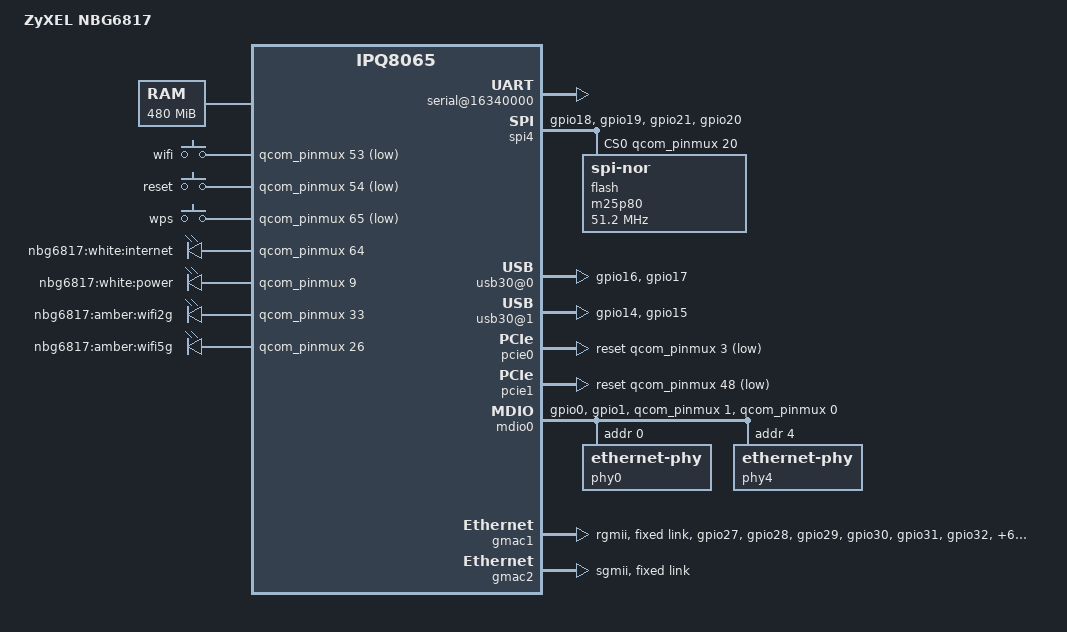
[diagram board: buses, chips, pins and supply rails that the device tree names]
#include "qcom-ipq8065-v1.0.dtsi"

#include <dt-bindings/input/input.h>

/ {
	model = "ZyXEL NBG6817";
	compatible = "zyxel,nbg6817", "qcom,ipq8065";

	memory@0 {
		reg = <0x42000000 0x1e000000>;
		device_type = "memory";
	};

	reserved-memory {
		#address-cells = <1>;
		#size-cells = <1>;
		ranges;
		rsvd@41200000 {
			reg = <0x41200000 0x300000>;
			no-map;
		};
	};

	aliases {
		serial0 = &gsbi4_serial;
		mdio-gpio0 = &mdio0;
		sdcc1 = &sdcc1;

		led-boot = &power;
		led-failsafe = &power;
		led-running = &power;
		led-upgrade = &power;
	};

	chosen {
		bootargs = "rootfstype=squashfs,ext4 rootwait noinitrd";
		linux,stdout-path = "serial0:115200n8";
		append-rootblock = "root=/dev/mmcblk0p";
	};

	soc {
		pinmux@800000 {
			button_pins: button_pins {
				mux {
					pins = "gpio53", "gpio54", "gpio65";
					function = "gpio";
					drive-strength = <2>;
					bias-pull-up;
				};
			};

			i2c4_pins: i2c4_pinmux {
				mux {
					pins = "gpio12", "gpio13";
					function = "gsbi4";
					drive-strength = <12>;
					bias-disable;
				};
			};

			led_pins: led_pins {
				mux {
					pins = "gpio9", "gpio26", "gpio33", "gpio64";
					function = "gpio";
					drive-strength = <2>;
					bias-pull-down;
				};
			};

			mdio0_pins: mdio0_pins {
				mux {
					pins = "gpio0", "gpio1";
					function = "gpio";
					drive-strength = <8>;
					bias-disable;
				};

				clk {
					pins = "gpio1";
					input-disable;
				};
			};

			rgmii2_pins: rgmii2_pins {
				mux {
					pins = "gpio27", "gpio28", "gpio29", "gpio30", "gpio31", "gpio32",
					       "gpio51", "gpio52", "gpio59", "gpio60", "gpio61", "gpio62" ;
					function = "rgmii2";
					drive-strength = <8>;
					bias-disable;
				};

				tx {
					pins = "gpio27", "gpio28", "gpio29", "gpio30", "gpio31", "gpio32" ;
					input-disable;
				};
			};

			spi_pins: spi_pins {
				mux {
					pins = "gpio18", "gpio19", "gpio21";
					function = "gsbi5";
					drive-strength = <10>;
					bias-none;
				};

				cs {
					pins = "gpio20";
					drive-strength = <12>;
				};
			};

			usb0_pwr_en_pins: usb0_pwr_en_pins {
				mux {
					pins = "gpio16", "gpio17";
					function = "gpio";
					drive-strength = <12>;
				};

				pwr {
					pins = "gpio17";
					bias-pull-down;
					output-high;
				};

				ovc {
					pins = "gpio16";
					bias-pull-up;
				};
			};

			usb1_pwr_en_pins: usb1_pwr_en_pins {
				mux {
					pins = "gpio14", "gpio15";
					function = "gpio";
					drive-strength = <12>;
				};

				pwr {
					pins = "gpio14";
					bias-pull-down;
					output-high;
				};

				ovc {
					pins = "gpio15";
					bias-pull-up;
				};
			};
		};

		gsbi@16300000 {
			qcom,mode = <GSBI_PROT_I2C_UART>;
			status = "ok";
			serial@16340000 {
				status = "ok";
			};
			/*
			 * The i2c device on gsbi4 should not be enabled.
			 * On ipq806x designs gsbi4 i2c is meant for exclusive
			 * RPM usage. Turning this on in kernel manifests as
			 * i2c failure for the RPM.
			 */
		};

		gsbi5: gsbi@1a200000 {
			qcom,mode = <GSBI_PROT_SPI>;
			status = "ok";

			spi4: spi@1a280000 {
				status = "ok";

				pinctrl-0 = <&spi_pins>;
				pinctrl-names = "default";

				cs-gpios = <&qcom_pinmux 20 GPIO_ACTIVE_HIGH>;

				flash: m25p80@0 {
					compatible = "jedec,spi-nor";
					#address-cells = <1>;
					#size-cells = <1>;
					spi-max-frequency = <51200000>;
					reg = <0>;

					linux,part-probe = "qcom-smem";
				};
			};
		};

		phy@100f8800 {		/* USB3 port 1 HS phy */
			status = "ok";
		};

		phy@100f8830 {		/* USB3 port 1 SS phy */
			status = "ok";
		};

		phy@110f8800 {		/* USB3 port 0 HS phy */
			status = "ok";
		};

		phy@110f8830 {		/* USB3 port 0 SS phy */
			status = "ok";
		};

		usb30@0 {
			status = "ok";

			pinctrl-0 = <&usb0_pwr_en_pins>;
			pinctrl-names = "default";
		};

		usb30@1 {
			status = "ok";

			pinctrl-0 = <&usb1_pwr_en_pins>;
			pinctrl-names = "default";
		};

		pcie0: pci@1b500000 {
			status = "ok";
			reset-gpio = <&qcom_pinmux 3 GPIO_ACTIVE_LOW>;
			pinctrl-0 = <&pcie0_pins>;
			pinctrl-names = "default";
		};

		pcie1: pci@1b700000 {
			status = "ok";
			reset-gpio = <&qcom_pinmux 48 GPIO_ACTIVE_LOW>;
			pinctrl-0 = <&pcie1_pins>;
			pinctrl-names = "default";
			force_gen1 = <1>;
		};

		mdio0: mdio {
			compatible = "virtual,mdio-gpio";
			#address-cells = <1>;
			#size-cells = <0>;
			gpios = <&qcom_pinmux 1 GPIO_ACTIVE_HIGH &qcom_pinmux 0 GPIO_ACTIVE_HIGH>;
			pinctrl-0 = <&mdio0_pins>;
			pinctrl-names = "default";

			phy0: ethernet-phy@0 {
				device_type = "ethernet-phy";
				reg = <0>;
				qca,ar8327-initvals = <
					0x00004 0x7600000   /* PAD0_MODE */
					0x00008 0x1000000   /* PAD5_MODE */
					0x0000c 0x80        /* PAD6_MODE */
					0x000e4 0xaa545     /* MAC_POWER_SEL */
					0x000e0 0xc74164de  /* SGMII_CTRL */
					0x0007c 0x4e        /* PORT0_STATUS */
					0x00094 0x4e        /* PORT6_STATUS */
					0x00970 0x1e864443  /* QM_PORT0_CTRL0 */
					0x00974 0x000001c6  /* QM_PORT0_CTRL1 */
					0x00978 0x19008643  /* QM_PORT1_CTRL0 */
					0x0097c 0x000001c6  /* QM_PORT1_CTRL1 */
					0x00980 0x19008643  /* QM_PORT2_CTRL0 */
					0x00984 0x000001c6  /* QM_PORT2_CTRL1 */
					0x00988 0x19008643  /* QM_PORT3_CTRL0 */
					0x0098c 0x000001c6  /* QM_PORT3_CTRL1 */
					0x00990 0x19008643  /* QM_PORT4_CTRL0 */
					0x00994 0x000001c6  /* QM_PORT4_CTRL1 */
					0x00998 0x1e864443  /* QM_PORT5_CTRL0 */
					0x0099c 0x000001c6  /* QM_PORT5_CTRL1 */
					0x009a0 0x1e864443  /* QM_PORT6_CTRL0 */
					0x009a4 0x000001c6  /* QM_PORT6_CTRL1 */
					>;
			};

			phy4: ethernet-phy@4 {
				device_type = "ethernet-phy";
				reg = <4>;
				qca,ar8327-initvals = <
					0x000e4 0x6a545     /* MAC_POWER_SEL */
					0x0000c 0x80        /* PAD6_MODE */
					>;
			};
		};

		gmac1: ethernet@37200000 {
			status = "ok";
			phy-mode = "rgmii";
			qcom,id = <1>;
			qcom,phy_mdio_addr = <4>;
			qcom,poll_required = <0>;
			qcom,rgmii_delay = <1>;
			qcom,phy_mii_type = <0>;
			qcom,emulation = <0>;
			qcom,irq = <255>;
			mdiobus = <&mdio0>;

			pinctrl-0 = <&rgmii2_pins>;
			pinctrl-names = "default";

			fixed-link {
				speed = <1000>;
				full-duplex;
			};
		};

		gmac2: ethernet@37400000 {
			status = "ok";
			phy-mode = "sgmii";
			qcom,id = <2>;
			qcom,phy_mdio_addr = <0>;	/* none */
			qcom,poll_required = <0>;	/* no polling */
			qcom,rgmii_delay = <0>;
			qcom,phy_mii_type = <1>;
			qcom,emulation = <0>;
			qcom,irq = <258>;
			mdiobus = <&mdio0>;

			fixed-link {
				speed = <1000>;
				full-duplex;
			};
		};

		rpm@108000 {
			pinctrl-0 = <&i2c4_pins>;
			pinctrl-names = "default";
		};

		amba {
			sdcc1: sdcc@12400000 {
				status = "okay";
			};
		};
	};

	gpio-keys {
		compatible = "gpio-keys";
		pinctrl-0 = <&button_pins>;
		pinctrl-names = "default";

		wifi {
			label = "wifi";
			gpios = <&qcom_pinmux 53 GPIO_ACTIVE_LOW>;
			linux,code = <KEY_RFKILL>;
			linux,input-type = <EV_SW>;
		};

		reset {
			label = "reset";
			gpios = <&qcom_pinmux 54 GPIO_ACTIVE_LOW>;
			linux,code = <KEY_RESTART>;
		};

		wps {
			label = "wps";
			gpios = <&qcom_pinmux 65 GPIO_ACTIVE_LOW>;
			linux,code = <KEY_WPS_BUTTON>;
		};
	};

	gpio-leds {
		compatible = "gpio-leds";
		pinctrl-0 = <&led_pins>;
		pinctrl-names = "default";

		internet {
			label = "nbg6817:white:internet";
			gpios = <&qcom_pinmux 64 GPIO_ACTIVE_HIGH>;
		};

		power: power {
			label = "nbg6817:white:power";
			gpios = <&qcom_pinmux 9 GPIO_ACTIVE_HIGH>;
			default-state = "keep";
		};

		wifi2g {
			label = "nbg6817:amber:wifi2g";
			gpios = <&qcom_pinmux 33 GPIO_ACTIVE_HIGH>;
		};

		/* wifi2g amber from the manual is missing */

		wifi5g {
			label = "nbg6817:amber:wifi5g";
			gpios = <&qcom_pinmux 26 GPIO_ACTIVE_HIGH>;
		};

		/* wifi5g amber from the manual is missing */
	};
};

&adm_dma {
	status = "ok";
};
